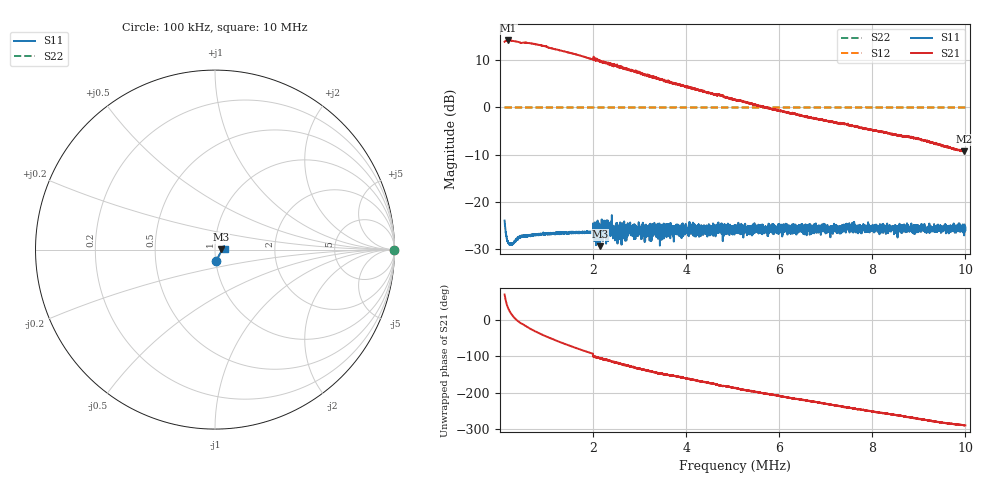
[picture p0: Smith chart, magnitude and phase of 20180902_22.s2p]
! Anritsu VNA Master:  Model: MS2026C/19
! SN:  1815009
! /card0/usr/20180902_22.s2p
! Existing Calibration Information:
! TYPE:  Current Settings,  Active Cal Settings
! TIME:  09/02/2018 02:28:20 PM,  09/02/2018 11:58:48 AM
! INTERNAL TEMP:  47.8 C,  48.8 C
! # POINTS:  4001,  4001
! START FREQ:  100.000 kHz,  100.000 kHz
! STOP FREQ:  10.000 MHz,  10.000 MHz
! SOURCE POWER:  Low,  Low
! IFBW:  500 Hz,  500 Hz
! AVG FACTOR:  5 ,  1
! REF PLANE 1:  0 mm,  0 mm
! REF PLANE 2:  0 mm,  0 mm
! CAL TYPE:  1P2P S11,S21,  1P2P S11,S21
! CAL METHOD:  SOLT,  SOLT
! CAL LINE TYPE:  Coax,  Coax
! DUT PORT 1:  N-Conn(M),  N-Conn(M)
! DUT PORT 2:  N-Conn(M),  N-Conn(M)
! CAL STATUS:  OK: Accuracy High,  --
# GHZ S RI R 50.0
! FREQ.GHZ  S11RE  S11IM  S21RE  S21IM  S12RE  S12IM  S22RE  S22IM
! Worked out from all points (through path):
!   4001 points, 100 kHz to 10 MHz, reference 50 ohm
!   highest |S21| = 14.23 dB at 181.7 kHz (marker M1); lowest = -9.3 dB at 9.965 MHz (marker M2)
!   group delay of S21, straight-line fit = 77.5 ns
!   lowest |S11| = -29.4 dB at 2.147 MHz (marker M3), VSWR 1.07, Z = 53.5 + j0.0955 ohm
!   |S11| at or under -10 dB: start of sweep to end of sweep
!   |S22| runs from 0.0 to 0.0 dB; largest |S21 - S12| = 4.7
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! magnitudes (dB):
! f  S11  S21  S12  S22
! 100 kHz  -24.0  14.0  0.0  0.0
! 181.7 kHz  -28.7  14.2  0.0  0.0
! 258.4 kHz  -28.9  14.2  0.0  0.0
! 471.2 kHz  -27.2  13.7  0.0  0.0
! 958.8 kHz  -26.7  13.0  0.0  0.0
! 1.751 MHz  -26.4  10.9  0.0  0.0
! 2.147 MHz  -29.4  9.9  0.0  0.0
! 2.268 MHz  -26.1  9.5  0.0  0.0
! 2.573 MHz  -25.1  8.8  0.0  0.0
! 2.783 MHz  -25.7  8.0  0.0  0.0
! 2.924 MHz  -26.9  7.4  0.0  0.0
! 3.025 MHz  -26.1  7.3  0.0  0.0
! 3.127 MHz  -26.4  6.9  0.0  0.0
! 3.402 MHz  -27.8  6.1  0.0  0.0
! 3.515 MHz  -27.8  5.7  0.0  0.0
! 3.733 MHz  -26.4  5.2  0.0  0.0
! 4.421 MHz  -26.1  3.2  0.0  0.0
! 5.05 MHz  -24.9  1.6  0.0  0.0
! 6.701 MHz  -25.6  -2.2  0.0  0.0
! 8.352 MHz  -25.3  -5.5  0.0  0.0
! 9.965 MHz  -25.7  -9.3  0.0  0.0
! 10 MHz  -25.5  -9.2  0.0  0.0
